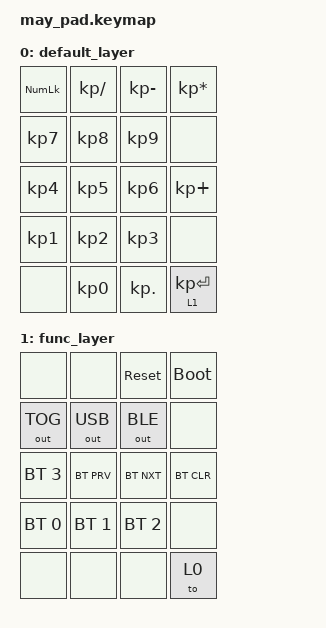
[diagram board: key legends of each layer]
 /*
 * Copyright (c) 2021 The ZMK Contributors
 *
 * SPDX-License-Identifier: MIT
 */

#include <behaviors.dtsi>
#include <dt-bindings/zmk/keys.h>
#include <dt-bindings/zmk/bt.h>
#include <dt-bindings/zmk/outputs.h>

#define DEFAULT    0
#define FUNC_LAYER 1


/ {
    keymap {
        compatible = "zmk,keymap";

        default_layer {
//-----------------------------------
//|NUMLOCK|SLASH|MINUS|   ASTERISK   |
//|   7   |  8  |  9  |      _       |
//|   4   |  5  |  6  |     PLUS     |
//|   1   |  2  |  3  |      _       |
//|   _   |  0  |  .  | 'TO 1' ENTER |
//-----------------------------------
            bindings = <
                &kp KP_NLCK    &kp KP_SLASH    &kp KP_MINUS  &kp KP_ASTERISK
                &kp KP_N7      &kp KP_N8       &kp KP_N9     &none
                &kp KP_N4      &kp KP_N5       &kp KP_N6     &kp KP_PLUS
                &kp KP_N1      &kp KP_N2       &kp KP_N3     &none
                &none          &kp KP_N0       &kp KP_DOT    &lt 1 KP_ENTER
            >;
        };

         func_layer {
//---------------------------------------------------------------
//|      NONE     |     NONE     |      RESET       | BOOTLOADER |
//| OUTPUT-TOGGLE |  OUTPUT-USB  | OUTPUT-BLUETOOTH |    NONE    |
//| BT CONNECT 3  |  BT PREV CON |    BT NEXT CON   |   BT CLEAR |
//| BT CONNECT 0  | BT CONNECT 1 |   BT CONNECT 2   |    NONE    |
//|      NONE     |     NONE     |       NONE       | TO DEFAULT |
//---------------------------------------------------------------
             bindings = <
                &none           &none           &sys_reset      &bootloader
                &out OUT_TOG    &out OUT_USB    &out OUT_BLE    &none
                &bt BT_SEL 3    &bt BT_PRV      &bt BT_NXT      &bt BT_CLR
                &bt BT_SEL 0    &bt BT_SEL 1    &bt BT_SEL 2    &none
                &none           &none           &none           &to 0
            >;
        };
    };
};
